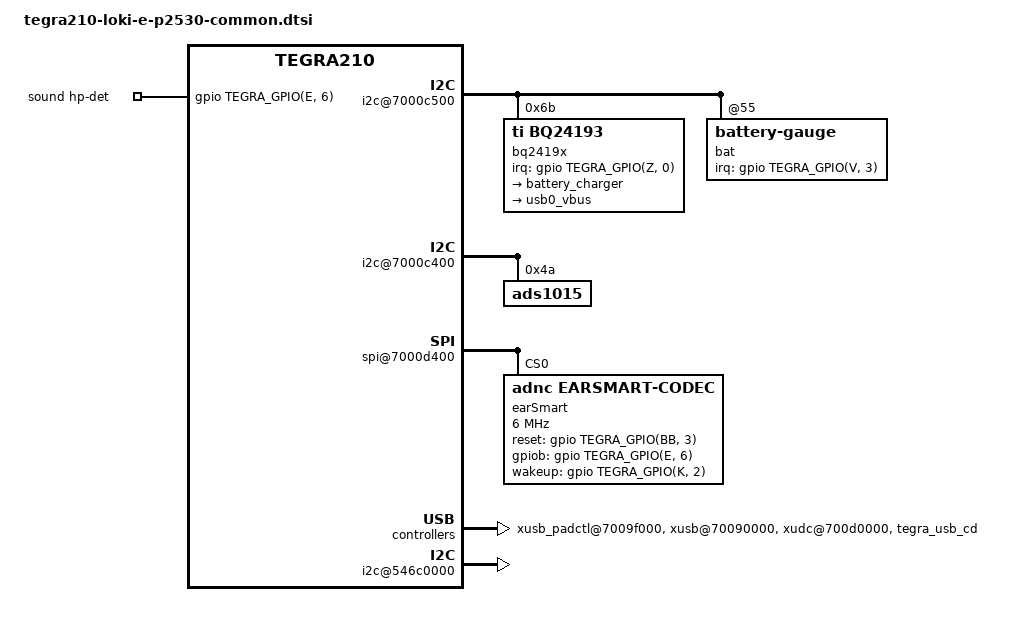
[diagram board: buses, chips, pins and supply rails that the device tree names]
/*
 * arch/arm64/boot/dts/tegra210-loki-e-p2530-common.dtsi
 *
 * Copyright (c) 2015-2020, NVIDIA CORPORATION.  All rights reserved.
 *
 * This program is free software; you can redistribute it and/or modify
 * it under the terms of the GNU General Public License as published by
 * the Free Software Foundation; version 2 of the License.
 *
 * This program is distributed in the hope that it will be useful, but WITHOUT
 * ANY WARRANTY; without even the implied warranty of MERCHANTABILITY or
 * FITNESS FOR A PARTICULAR PURPOSE.  See the GNU General Public License for
 * more details.
 *
 * You should have received a copy of the GNU General Public License along
 * with this program; if not, write to the Free Software Foundation, Inc.,
 * 51 Franklin Street, Fifth Floor, Boston, MA  02110-1301, USA.
 *
 */
#include <dt-bindings/types.h>
/dts-v1/;

/memreserve/ 0x80000000 0x00020000;

#include <t210-common-platforms/tegra210-common.dtsi>
#include <tegra210-soc/tegra210-sdhci.dtsi>
#include <t210-common-platforms/tegra210-p2530-common.dtsi>
#include "foster-platforms/tegra210-loki-e-prods.dtsi"
#include "foster-platforms/tegra210-loki-power-tree-p2530-0999-e00.dtsi"
#include "foster-platforms/tegra210-loki-e-gpio-p2530-0032-e00.dtsi"
#include "foster-platforms/tegra210-loki-e-pinmux-p2530-0032-e00.dtsi"
#include "foster-platforms/tegra210-loki-e-comms.dtsi"
#include "foster-platforms/tegra210-loki-e-pwm-fan.dtsi"
#include <t210-common-platforms/tegra210-ers-hdmi-e2190-1100-a00.dtsi>
#include <t210-common-platforms/tegra210-ers-touch-e1937-1000-a00.dtsi>
#include <t210-common-platforms/tegra210-platform-common-sensor.dtsi>
#include "foster-platforms/tegra210-loki-e-thermal-fan-est.dtsi"
#include "foster-platforms/tegra210-loki-e-camera-p2530-0032-e00.dtsi"
#include "foster-platforms/tegra210-loki-e-keys-p2530-0032-e00.dtsi"
#include "foster-platforms/tegra210-loki-maxim-charger.dtsi"
#include "foster-platforms/tegra210-loki-e-powermon.dtsi"
#include <tegra210-soc/tegra210-audio.dtsi>
#include "foster-platforms/tegra210-loki-e-gamepad-reset.dtsi"
#include "foster-platforms/tegra210-loki-e-c2port.dtsi"
#include "foster-platforms/tegra210-loki-e-cpufreq.dtsi"
#include <audio/tegra210-audio-dai-links.dtsi>

/ {
	compatible = "nvidia,loki-e", "nvidia,tegra210";
	nvidia,fastboot-usb-pid = <0xb420>;

	firmware {
		android {
			compatible = "android,firmware";
			hardware = "loki_e";
			first_stage_delay = "1";
			system_root_blkdev = "/dev/mmcblk0p19";
			fstab {
				compatible = "android,fstab";
				vendor {
					compatible = "android,vendor";
					dev = "/dev/block/platform/sdhci-tegra.3/by-name/vendor";
					type = "ext4";
					mnt_flags = "ro,noatime";
					fsmgr_flags = "wait";
				};
			};
		};
	};

	bpmp {
		status = "okay";
	};

	cpus {
		idle-states {
			c7 {
				arm,psci-suspend-param = <0x00010007>;
			};

			cc6 {
				arm,psci-suspend-param = <0x01010010>;
			};
		};
	};

	psci {
		compatible = "arm,psci-0.2";
	};

	pmc@7000e400 {
		/delete-property/ nvidia,secure-pmc;
		nvidia,restrict-voltage-switch;
		iopad-defaults {
			audio-hv-pads {
				pins = "audio-hv";
				nvidia,power-source-voltage = <TEGRA_IO_PAD_VOLTAGE_1800000UV>;
			};

			spi-hv-pads {
				pins = "spi-hv";
				nvidia,power-source-voltage = <TEGRA_IO_PAD_VOLTAGE_1800000UV>;
			};

			gpio-pads {
				pins = "gpio";
				nvidia,power-source-voltage = <TEGRA_IO_PAD_VOLTAGE_1800000UV>;
			};

			sdmmc-io-pads {
				pins = "sdmmc1", "sdmmc3";
				nvidia,enable-voltage-switching;
			};
		};
	};

	i2c@7000c500 {
		/delete-node/ battery-charger@6b;

		bq2419x: bq24193@6b {
			compatible = "ti,bq24193";
			reg = <0x6b>;
			interrupt-parent = <&gpio>;
			interrupts = <TEGRA_GPIO(Z, 0) IRQ_TYPE_NONE>;
			monitored-battery = <&bat>;
			#extcon-cells = <1>;

			omit-battery-class;

			battery_charger: charger {
				regulator-name = "batt_regulator";
				regulator-max-microamp = <3000000>;
			};

			usb0_vbus: usb-otg-vbus {
				regulator-name = "vbus_regulator";
			};
		};

		bat: battery-gauge@55 {
			power-supplies = <&bq2419x>;
			interrupt-parent = <&gpio>;
			interrupts = <TEGRA_GPIO(V, 3) 0x0>;
			dt-override-status-odm-data = <0x00C00000 0x00400000>;
			ti,full-charge-capacity = <6500>;
		};
	};

	i2c@7000c400 {
		ads1015: ads1015@4a {
			reg = <0x4a>;
			compatible = "ads1015";
			#io-channel-cells = <1>;
		};
	};

	spi@7000d400 {
		status = "okay";
		earSmart: earSmart-codec@0 {
			compatible = "adnc,earSmart-codec";
			reg = <0>;
			spi-max-frequency = <6000000>;
			spi-cpha;

			adnc,reset-gpio = <&gpio TEGRA_GPIO(BB, 3) GPIO_ACTIVE_HIGH>;
			adnc,gpiob-gpio = <&gpio TEGRA_GPIO(E, 6) GPIO_ACTIVE_HIGH>;
			adnc,wakeup-gpio = <&gpio TEGRA_GPIO(K, 2) GPIO_ACTIVE_HIGH>;

			adnc,int-gpio = <(-1)>;
			adnc,gpioa-gpio = <(-1)>;
			adnc,enable_hs_uart_intf = <0>;
			adnc,ext_clk_rate = <0>;
			adnc,debounce_timer = <3>;
			adnc,plug_det_enabled = <1>;
			adnc,mic_det_enabled = <1>;

			adnc,gpio_b_irq_type = <4>;
			adnc,cmd_comp_mode = <0>;

			/* Button Control 1 */
			adnc,btn_press_settling_time = <4>;
			adnc,btn_press_polling_rate = <1>;
			adnc,btn_press_det_act = <1>;

			/* Button Control 2 */
			adnc,double_btn_timer = <(-1)>;
			adnc,mic_det_settling_timer = <(-1)>;

			/* Button Control 3 */
			adnc,long_btn_timer = <(-1)>;
			adnc,adc_btn_mute = <(-1)>;

			/* Button Control 4 */
			adnc,valid_levels = <31>;
			adnc,impd_det_timer = <0>;

			/* FW name */
			adnc,fw_filename = "audience/es755/audience-es755-fw_loki.bin";
			adnc,vs_filename = "audience/es755/audience-es755-vs_loki.bin";

			#sound-dai-cells = <1>;
		};
	};

	ahub {
		i2s@702d1100 {
			pinctrl-names = "dap_active", "dap_inactive";
			pinctrl-0 = <>;
			pinctrl-1 = <>;
			regulator-supplies = "vdd-1v8-spi-hv", "vdd-1v8-spi-hv-bias";
			vdd-1v8-spi-hv-supply = <&max77620_sd3>;
			vdd-1v8-spi-hv-bias-supply = <&max77620_sd3>;
			bclk-ratio = <4>;
		};
	};

	sound {
		compatible = "nvidia,tegra210-ape";
		nvidia-audio-card,name = "NVIDIA SHIELD Portable APE";
		nvidia,hp-det-gpios = <&gpio TEGRA_GPIO(E, 6) GPIO_ACTIVE_HIGH>;

		clocks = <&tegra_car TEGRA210_CLK_PLL_A>,
			 <&tegra_car TEGRA210_CLK_PLL_A_OUT0>,
			 <&tegra_car TEGRA210_CLK_EXTERN1>;
		clock-names = "pll_a", "pll_a_out0", "extern1";
		assigned-clocks = <&tegra_car TEGRA210_CLK_EXTERN1>;
		assigned-clock-parents = <&tegra_car TEGRA210_CLK_PLL_A_OUT0>;

		nvidia-audio-card,widgets =
			"Speaker",	"Int Spk";

		nvidia-audio-card,routing =
			"Int Spk",	"SPKRL",
			"Int Spk",	"SPKRR";
	};

	adsp_audio {
		compr-ops = <1>;
		num-plugin = <5>;
		plugin-info-1 {
			plugin-name = "mp3-dec1";
			firmware-name = "nvmp3dec.elf";
			widget-name = "MP3-DEC1";
		};
		plugin-info-2 {
			plugin-name = "spkprot";
			firmware-name = "nvspkprot.elf";
			widget-name = "SPKPROT-SW";
		};
		plugin-info-3 {
			plugin-name = "src";
			firmware-name = "nvsrc.elf";
			widget-name = "SRC";
		};
		plugin-info-4 {
			plugin-name = "aac-dec1";
			firmware-name = "nvaacdec.elf";
			widget-name = "AAC-DEC1";
		};
		plugin-info-5 {
			plugin-name = "aec";
			firmware-name = "libnvaecfx.elf";
			widget-name = "AEC";
			param-type = <2>; /* SNDRV_CTL_ELEM_TYPE_INTEGER */
		};
	};

	extcon {
		extcon@0 {
			status = "disabled";
		};
	};

	chosen {
		nvidia,tegra-shield-sku;
        };

	camera-pcl {
		profiles {
			ov7695@6_0021 {
				use_of_node = "yes";
				vana-supply = <&max77620_ldo3>;
				vif2-supply = <&en_vdd_cam>;
				cam1-gpio = <&gpio TEGRA_GPIO(S, 7) 0>;
			};
		};
	};

	/* Put common control config here */
	xusb_padctl@7009f000 {
		status = "okay";

		pads {
			usb2 {
				status = "okay";

				lanes {
					usb2-0 {
						status = "okay";
						nvidia,function = "xusb";
					};
				};
			};

			pcie {
				status = "okay";

				lanes {
					pcie-5 {
						status = "okay";
						nvidia,function = "xusb";
					};
					pcie-6 {
						status = "okay";
						nvidia,function = "xusb";
					};
				};
			};
		};

		ports {
			usb2-0 {
				status = "okay";
				mode = "otg";
				nvidia,usb3-port-fake = <3>;
			};

			usb3-0 {
				nvidia,usb2-companion = <0>;
				status = "okay";
			};
		};
	};

	xusb@70090000 {
		phys = <&{/xusb_padctl@7009f000/pads/usb2/lanes/usb2-0}>,
				<&{/xusb_padctl@7009f000/pads/pcie/lanes/pcie-6}>;
		phy-names = "usb2-0", "usb3-0";
		nvidia,pmc-wakeup =
			<&tegra_pmc
				PMC_WAKE_TYPE_EVENT 39 PMC_TRIGGER_TYPE_HIGH>,
			<&tegra_pmc
				PMC_WAKE_TYPE_EVENT 40 PMC_TRIGGER_TYPE_HIGH>,
			<&tegra_pmc
				PMC_WAKE_TYPE_EVENT 41 PMC_TRIGGER_TYPE_HIGH>,
			<&tegra_pmc
				PMC_WAKE_TYPE_EVENT 42 PMC_TRIGGER_TYPE_HIGH>,
			<&tegra_pmc
				PMC_WAKE_TYPE_EVENT 44 PMC_TRIGGER_TYPE_HIGH>;
		extcon-cables = <&bq2419x 1>;
		extcon-cable-names = "id";
		#extcon-cells = <1>;
		status = "okay";
	};

	 xudc@700d0000 {
		phys =  <&{/xusb_padctl@7009f000/pads/usb2/lanes/usb2-0}>;
		phy-names = "usb2";
		charger-detector = <&tegra_usb_cd>;
		extcon-cables = <&bq2419x 0>;
		extcon-cable-names = "vbus";
				#extcon-cells = <1>;
		status = "okay";
		};

	tegra_usb_cd: usb_cd {
		reg = <0x0 0x7009f000 0x0 0x1000>;
		phys = <&{/xusb_padctl@7009f000/pads/usb2/lanes/usb2-0}>;
		phy-names = "otg-phy";
		status = "okay";
		nvidia,dcp-current-limit-ma = <2000>;
	};

	gpu-dvfs-rework {
		status = "disabled";
	};

	gpio@6000d000 {
		uart_over_jack {
			gpio-hog;
			output-high;
			gpios = <TEGRA_GPIO(DD, 0) 0>;
			label = "uart_over_jack";
			dt-override-status-odm-data = <0x80000000 0x80000000>;
			status = "disabled";
		};
	};

	camera-pcl {
		dpd {
			default-enable;
		};
	};

	bcmdhd_wlan {
		fw_path = "/vendor/firmware/fw_bcmdhd.bin";
		nv_path = "/vendor/firmware/nvram_loki_e_4354.txt";
		tuned_nv_path = "/vendor/firmware/nvram_loki_e_antenna_tuned_4354.txt";
		clm_blob_path = "/vendor/firmware/bcmdhd_clm_loki.blob";
		builtin-roam-disabled;
		country_code_map {
			CC1 {
				iso_abbrev = "XV";
				custom_locale = "XV";
				custom_locale_rev = <998>;
			};
			CC2 {
				iso_abbrev = "US";
				custom_locale = "Q2";
				custom_locale_rev = <113>;
			};
			CC3 {
				iso_abbrev = "CA";
				custom_locale = "Q2";
				custom_locale_rev = <113>;
			};
			CC4 {
				iso_abbrev = "AT";
				custom_locale = "E0";
				custom_locale_rev = <53>;
			};
			CC5 {
				iso_abbrev = "BE";
				custom_locale = "E0";
				custom_locale_rev = <53>;
			};
			CC6 {
				iso_abbrev = "BG";
				custom_locale = "E0";
				custom_locale_rev = <53>;
			};
			CC7 {
				iso_abbrev = "HR";
				custom_locale = "E0";
				custom_locale_rev = <53>;
			};
			CC8 {
				iso_abbrev = "CZ";
				custom_locale = "E0";
				custom_locale_rev = <53>;
			};
			CC9 {
				iso_abbrev = "DK";
				custom_locale = "E0";
				custom_locale_rev = <53>;
			};
			CC10 {
				iso_abbrev = "FR";
				custom_locale = "E0";
				custom_locale_rev = <53>;
			};
			CC11 {
				iso_abbrev = "DE";
				custom_locale = "E0";
				custom_locale_rev = <53>;
			};
			CC12 {
				iso_abbrev = "GR";
				custom_locale = "E0";
				custom_locale_rev = <53>;
			};
			CC13 {
				iso_abbrev = "HU";
				custom_locale = "E0";
				custom_locale_rev = <53>;
			};
			CC14 {
				iso_abbrev = "IT";
				custom_locale = "E0";
				custom_locale_rev = <53>;
			};
			CC15 {
				iso_abbrev = "NL";
				custom_locale = "E0";
				custom_locale_rev = <53>;
			};
			CC16 {
				iso_abbrev = "NO";
				custom_locale = "E0";
				custom_locale_rev = <53>;
			};
			CC17 {
				iso_abbrev = "PL";
				custom_locale = "E0";
				custom_locale_rev = <53>;
			};
			CC18 {
				iso_abbrev = "PT";
				custom_locale = "E0";
				custom_locale_rev = <53>;
			};
			CC19 {
				iso_abbrev = "RO";
				custom_locale = "E0";
				custom_locale_rev = <53>;
			};
			CC20 {
				iso_abbrev = "SK";
				custom_locale = "E0";
				custom_locale_rev = <53>;
			};
			CC21 {
				iso_abbrev = "ES";
				custom_locale = "E0";
				custom_locale_rev = <53>;
			};
			CC22 {
				iso_abbrev = "SE";
				custom_locale = "E0";
				custom_locale_rev = <53>;
			};
			CC23 {
				iso_abbrev = "CH";
				custom_locale = "E0";
				custom_locale_rev = <53>;
			};
			CC24 {
				iso_abbrev = "GB";
				custom_locale = "E0";
				custom_locale_rev = <53>;
			};
			CC25 {
				iso_abbrev = "EU";
				custom_locale = "E0";
				custom_locale_rev = <53>;
			};
			CC26 {
				iso_abbrev = "E0";
				custom_locale = "E0";
				custom_locale_rev = <53>;
			};
			CC27 {
				iso_abbrev = "IN";
				custom_locale = "Q2";
				custom_locale_rev = <113>;
			};
		};
	};

	rollback-protection {
		status = "okay";
	};

	usb_nvshield_led {
		status = "okay";
		disable-on-kernel-charging;
	};

	serial@70006300 {
		dma-names = "tx";
	};

	host1x@50000000 {
		i2c@546c0000 {
			avdd_dsi_csi-supply = <&max77620_gpio7>;
			status = "okay";
		};
	};
};

&i2s1_to_codec {
	link-name = "earSmart-playback";
	codec {
		sound-dai = <&earSmart 0>;
		prefix = "x";
	};
};

&i2s2_to_codec {
	format = "dsp_a";
	bitclock-inversion;
};
